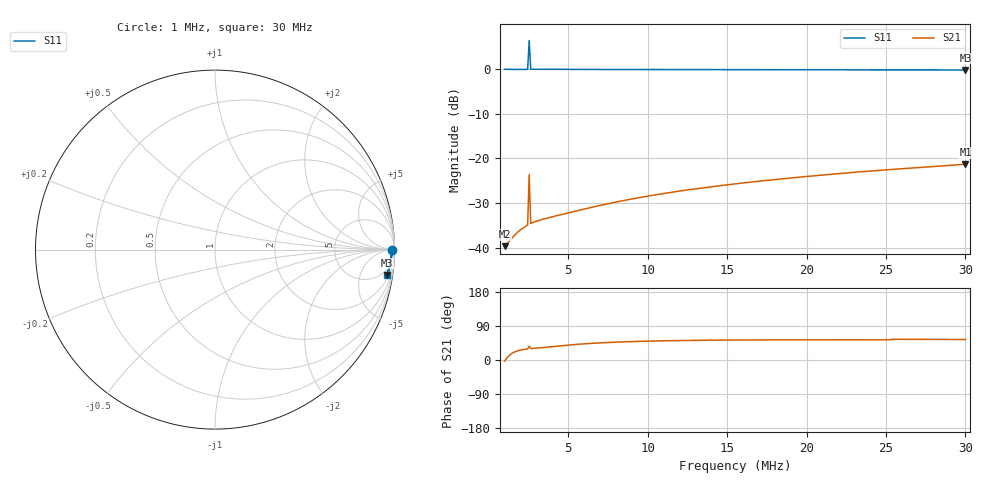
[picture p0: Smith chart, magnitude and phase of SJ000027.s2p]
!File created by NanoVNA-F V2
# Hz S RI R 50
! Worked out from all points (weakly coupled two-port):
!   301 points, 1 MHz to 30 MHz, reference 50 ohm
!   highest |S21| = -21.31 dB at 30 MHz (marker M1); lowest = -39.6 dB at 1 MHz (marker M2)
!   lowest |S11| = -0.3 dB at 30 MHz (marker M3), VSWR 64.43, Z = 139 - j653 ohm
!   |S11| at or under -10 dB: nowhere
!   S12 and S22 are empty: the file has one direction only
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1000000  0.9885 -0.00263  0.0105 -0.000561  0 0  0 0
1096666  0.9877 -0.00297  0.0109 0.000569  0 0  0 0
1483330  0.9839 -0.00729  0.0124 0.00405  0 0  0 0
1869994  0.9851 -0.00707  0.0139 0.00642  0 0  0 0
2063326  0.9845 -0.00781  0.0145 0.00737  0 0  0 0
2256658  0.9845 -0.00727  0.0151 0.00805  0 0  0 0
2449990  0.9848 -0.0117  0.0157 0.00877  0 0  0 0
2546656  -1.135 1.733  0.0529 0.0396  0 0  0 0
2643322  0.9887 -0.0104  0.0163 0.0094  0 0  0 0
3029986  0.9882 -0.0166  0.017 0.0105  0 0  0 0
3513316  0.9884 -0.0197  0.0177 0.0116  0 0  0 0
5833300  0.984 -0.031  0.0198 0.0179  0 0  0 0
6799960  0.9833 -0.0355  0.0208 0.0206  0 0  0 0
8056618  0.9814 -0.0413  0.0222 0.024  0 0  0 0
1.06666e7  0.9801 -0.0556  0.0253 0.0306  0 0  0 0
1.269659e7  0.9783 -0.0632  0.0279 0.0353  0 0  0 0
1.54999e7  0.9762 -0.0772  0.0315 0.0413  0 0  0 0
1.810988e7  0.9731 -0.0884  0.035 0.0468  0 0  0 0
2.03332e7  0.97 -0.0985  0.0379 0.051  0 0  0 0
2.216985e7  0.9685 -0.1075  0.0406 0.0546  0 0  0 0
2.51665e7  0.9668 -0.1194  0.045 0.0599  0 0  0 0
2.99998e7  0.9591 -0.1414  0.0504 0.0696  0 0  0 0
